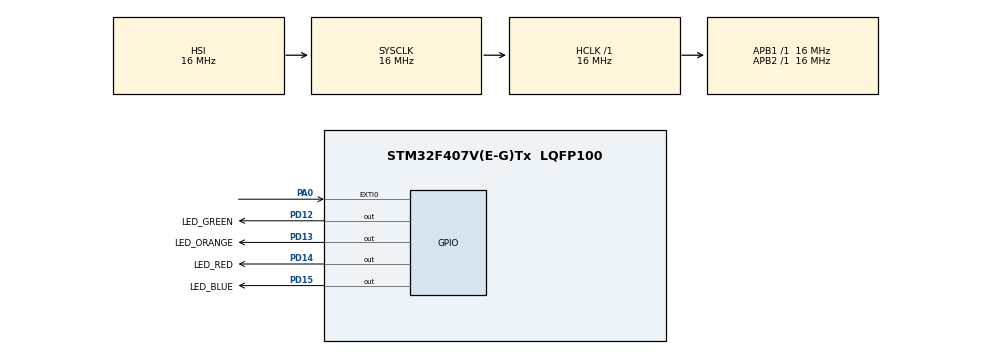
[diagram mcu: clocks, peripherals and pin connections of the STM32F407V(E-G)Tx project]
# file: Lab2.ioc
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Mcu.Family=STM32F4
Mcu.Name=STM32F407V(E-G)Tx
Mcu.Package=LQFP100
NVIC.EXTI0_IRQn=true\:0\:0\:false\:false\:true\:true\:true\:true
NVIC.PriorityGroup=NVIC_PRIORITYGROUP_4
PA0-WKUP.Signal=GPXTI0
PD12.GPIO_Label=LED_GREEN
PD12.Signal=GPIO_Output
PD13.GPIO_Label=LED_ORANGE
PD13.Signal=GPIO_Output
PD14.GPIO_Label=LED_RED
PD14.Signal=GPIO_Output
PD15.GPIO_Label=LED_BLUE
PD15.Signal=GPIO_Output
ProjectManager.HeapSize=0x200
ProjectManager.StackSize=0x400
ProjectManager.TargetToolchain=STM32CubeIDE
RCC.AHBFreq_Value=16000000
RCC.APB1Freq_Value=16000000
RCC.APB2Freq_Value=16000000
RCC.CortexFreq_Value=16000000
RCC.HSE_VALUE=25000000
RCC.HSI_VALUE=16000000
RCC.LSE_VALUE=32768
RCC.SYSCLKFreq_VALUE=16000000
RCC.VCOOutputFreq_Value=192000000
board=custom

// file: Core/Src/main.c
/* USER CODE BEGIN Header */
/**
  ******************************************************************************
  * @file           : main.c
  * @brief          : Main program body
  ******************************************************************************
  * @attention
  *
  * Copyright (c) 2023 STMicroelectronics.
  * All rights reserved.
  *
  * This software is licensed under terms that can be found in the LICENSE file
  * in the root directory of this software component.
  * If no LICENSE file comes with this software, it is provided AS-IS.
  *
  ******************************************************************************
  */
/* USER CODE END Header */
#include "main.h"

/* USER CODE BEGIN PD */
#define DELAY_LED 500
/* USER CODE END PD */

/* USER CODE BEGIN PV */

unsigned int ledN = 0;

/* USER CODE END PV */

void SystemClock_Config(void);
static void MX_GPIO_Init(void);

int main(void)
{

  /* MCU Configuration--------------------------------------------------------*/

  /* Reset of all peripherals, Initializes the Flash interface and the Systick. */
  HAL_Init();

  /* Configure the system clock */
  SystemClock_Config();

  /* Initialize all configured peripherals */
  MX_GPIO_Init();

  /* Infinite loop */
  /* USER CODE BEGIN WHILE */
  while (1)
  {
	  // Blink LED
	  if (ledN == 0)
	  {
		  HAL_GPIO_WritePin(LED_GREEN_GPIO_Port, LED_GREEN_Pin, GPIO_PIN_SET);
		  HAL_Delay(DELAY_LED);
		  HAL_GPIO_WritePin(LED_GREEN_GPIO_Port, LED_GREEN_Pin, GPIO_PIN_RESET);
		  HAL_Delay(DELAY_LED);
	  }
	  if (ledN == 1)
	  {
	  	  HAL_GPIO_WritePin(LED_ORANGE_GPIO_Port, LED_ORANGE_Pin, GPIO_PIN_SET);
	  	  HAL_Delay(DELAY_LED);
	  	  HAL_GPIO_WritePin(LED_ORANGE_GPIO_Port, LED_ORANGE_Pin, GPIO_PIN_RESET);
	  	  HAL_Delay(DELAY_LED);
	  }
	  if (ledN == 2)
	  {
	  	  HAL_GPIO_WritePin(LED_RED_GPIO_Port, LED_RED_Pin, GPIO_PIN_SET);
	  	  HAL_Delay(DELAY_LED);
	  	  HAL_GPIO_WritePin(LED_RED_GPIO_Port, LED_RED_Pin, GPIO_PIN_RESET);
	  	  HAL_Delay(DELAY_LED);
	  }
	  if (ledN == 3)
	  {
		  HAL_GPIO_WritePin(LED_BLUE_GPIO_Port, LED_BLUE_Pin, GPIO_PIN_SET);
	  	  HAL_Delay(DELAY_LED);
	  	  HAL_GPIO_WritePin(LED_BLUE_GPIO_Port, LED_BLUE_Pin, GPIO_PIN_RESET);
	  	  HAL_Delay(DELAY_LED);
	  }

    /* USER CODE END WHILE */

  }
}

void SystemClock_Config(void)
{
  RCC_OscInitTypeDef RCC_OscInitStruct = {0};
  RCC_ClkInitTypeDef RCC_ClkInitStruct = {0};

  /** Configure the main internal regulator output voltage
  */
  __HAL_RCC_PWR_CLK_ENABLE();
  __HAL_PWR_VOLTAGESCALING_CONFIG(PWR_REGULATOR_VOLTAGE_SCALE1);

  /** Initializes the RCC Oscillators according to the specified parameters
  * in the RCC_OscInitTypeDef structure.
  */
  RCC_OscInitStruct.OscillatorType = RCC_OSCILLATORTYPE_HSI;
  RCC_OscInitStruct.HSIState = RCC_HSI_ON;
  RCC_OscInitStruct.HSICalibrationValue = RCC_HSICALIBRATION_DEFAULT;
  RCC_OscInitStruct.PLL.PLLState = RCC_PLL_NONE;
  if (HAL_RCC_OscConfig(&RCC_OscInitStruct) != HAL_OK)
  {
    Error_Handler();
  }

  /** Initializes the CPU, AHB and APB buses clocks
  */
  RCC_ClkInitStruct.ClockType = RCC_CLOCKTYPE_HCLK|RCC_CLOCKTYPE_SYSCLK
                              |RCC_CLOCKTYPE_PCLK1|RCC_CLOCKTYPE_PCLK2;
  RCC_ClkInitStruct.SYSCLKSource = RCC_SYSCLKSOURCE_HSI;
  RCC_ClkInitStruct.AHBCLKDivider = RCC_SYSCLK_DIV1;
  RCC_ClkInitStruct.APB1CLKDivider = RCC_HCLK_DIV1;
  RCC_ClkInitStruct.APB2CLKDivider = RCC_HCLK_DIV1;

  if (HAL_RCC_ClockConfig(&RCC_ClkInitStruct, FLASH_LATENCY_0) != HAL_OK)
  {
    Error_Handler();
  }
}

static void MX_GPIO_Init(void)
{
  GPIO_InitTypeDef GPIO_InitStruct = {0};

  /* GPIO Ports Clock Enable */
  __HAL_RCC_GPIOA_CLK_ENABLE();
  __HAL_RCC_GPIOD_CLK_ENABLE();

  /*Configure GPIO pin Output Level */
  HAL_GPIO_WritePin(GPIOD, LED_GREEN_Pin|LED_ORANGE_Pin|LED_RED_Pin|LED_BLUE_Pin, GPIO_PIN_RESET);

  /*Configure GPIO pin : PA0 */
  GPIO_InitStruct.Pin = GPIO_PIN_0;
  GPIO_InitStruct.Mode = GPIO_MODE_IT_RISING;
  GPIO_InitStruct.Pull = GPIO_NOPULL;
  HAL_GPIO_Init(GPIOA, &GPIO_InitStruct);

  /*Configure GPIO pins : LED_GREEN_Pin LED_ORANGE_Pin LED_RED_Pin LED_BLUE_Pin */
  GPIO_InitStruct.Pin = LED_GREEN_Pin|LED_ORANGE_Pin|LED_RED_Pin|LED_BLUE_Pin;
  GPIO_InitStruct.Mode = GPIO_MODE_OUTPUT_PP;
  GPIO_InitStruct.Pull = GPIO_NOPULL;
  GPIO_InitStruct.Speed = GPIO_SPEED_FREQ_LOW;
  HAL_GPIO_Init(GPIOD, &GPIO_InitStruct);

  /* EXTI interrupt init*/
  HAL_NVIC_SetPriority(EXTI0_IRQn, 0, 0);
  HAL_NVIC_EnableIRQ(EXTI0_IRQn);

}

void Error_Handler(void)
{
  __disable_irq();
  while (1)
  {
  }
}
